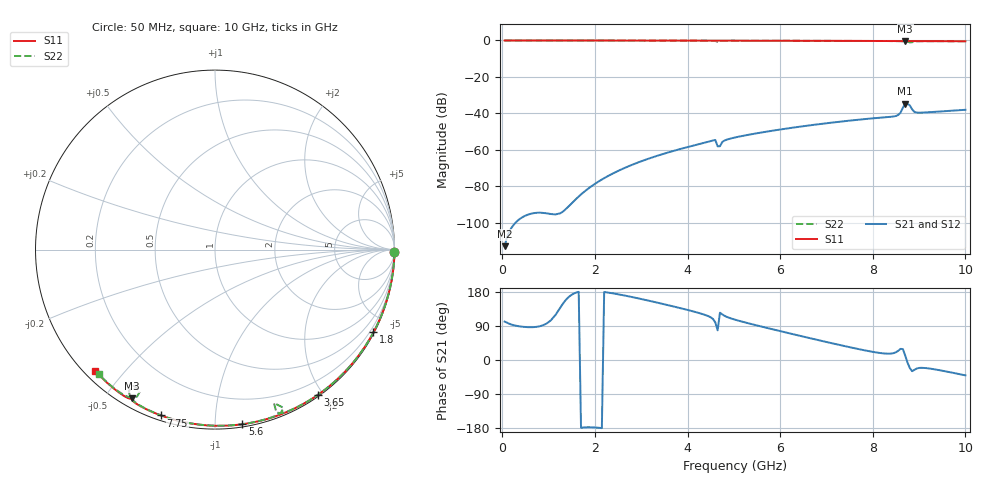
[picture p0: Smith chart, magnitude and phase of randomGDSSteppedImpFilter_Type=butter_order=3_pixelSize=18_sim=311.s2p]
! freq	dB(S11)	phase(S11)	dB(S12)	phase(S12)
!  dB(S21)	phase(S21)	dB(S22)	phase(S22)
!S-par simulation data
#  GHz  S  DB  R 50
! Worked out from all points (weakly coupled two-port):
!   200 points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, 50 MHz to 10 GHz, reference 50 ohm
!   highest |S21| = -34.65 dB at 8.7 GHz (marker M1); lowest = -112.7 dB at 50 MHz (marker M2)
!   lowest |S11| = -0.5 dB at 8.7 GHz (marker M3), VSWR 37.84, Z = 1.78 - j29.3 ohm
!   |S11| at or under -10 dB: nowhere
!   |S22| runs from -1.1 to 0.0 dB; largest |S21 - S12| = 0
!   S11 on the Smith chart (normalised r, x): 50 MHz: open; 1.8 GHz: 0.04, -4.08; 3.65 GHz: 0.02, -1.94; 5.6 GHz: 0.02, -1.17; 7.75 GHz: 0.02, -0.73; 10 GHz: 0.03, -0.42
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0.05  -0.00 -0.8  -112.72 101.3  -112.72 101.3  -0.00 -0.8
1.75  -0.03 -26.8  -83.29 -178.1  -83.29 -178.1  -0.03 -26.7
1.8  -0.03 -27.6  -82.26 -177.6  -82.26 -177.6  -0.03 -27.4
1.95  -0.04 -29.8  -79.44 -177.6  -79.44 -177.6  -0.04 -29.7
2.75  -0.05 -41.6  -68.68 167.5  -68.68 167.5  -0.05 -41.5
3.4  -0.07 -51.0  -62.76 149.9  -62.76 149.9  -0.07 -50.8
3.65  -0.07 -54.6  -60.85 142.7  -60.85 142.7  -0.07 -54.4
4.6  -0.10 -67.7  -54.56 99.2  -54.56 99.2  -0.26 -69.3
4.65  -0.10 -68.4  -58.00 78.3  -58.00 78.3  -0.77 -69.0
4.7  -0.10 -69.1  -57.96 124.8  -57.96 124.8  -0.34 -66.6
4.8  -0.10 -70.5  -54.82 116.5  -54.82 116.5  -0.14 -69.1
5.05  -0.11 -73.8  -53.02 105.5  -53.02 105.5  -0.12 -73.0
5.6  -0.13 -81.1  -50.41 88.1  -50.41 88.1  -0.13 -80.4
6.7  -0.18 -95.1  -46.32 56.0  -46.32 56.0  -0.18 -94.5
7.75  -0.25 -108.1  -43.28 27.3  -43.28 27.3  -0.25 -107.4
8.35  -0.30 -115.4  -41.92 16.6  -41.92 16.6  -0.31 -115.0
8.55  -0.34 -118.0  -40.83 24.4  -40.83 24.4  -0.36 -117.8
8.7  -0.46 -119.2  -34.65 11.8  -34.65 11.8  -0.53 -120.4
8.8  -0.37 -120.2  -35.60 -21.3  -35.60 -21.3  -1.08 -120.8
8.9  -0.36 -121.5  -39.18 -25.8  -39.18 -25.8  -0.65 -118.0
8.95  -0.36 -122.1  -39.53 -22.4  -39.53 -22.4  -0.50 -119.0
10  -0.45 -134.7  -37.99 -40.6  -37.99 -40.6  -0.45 -133.0
